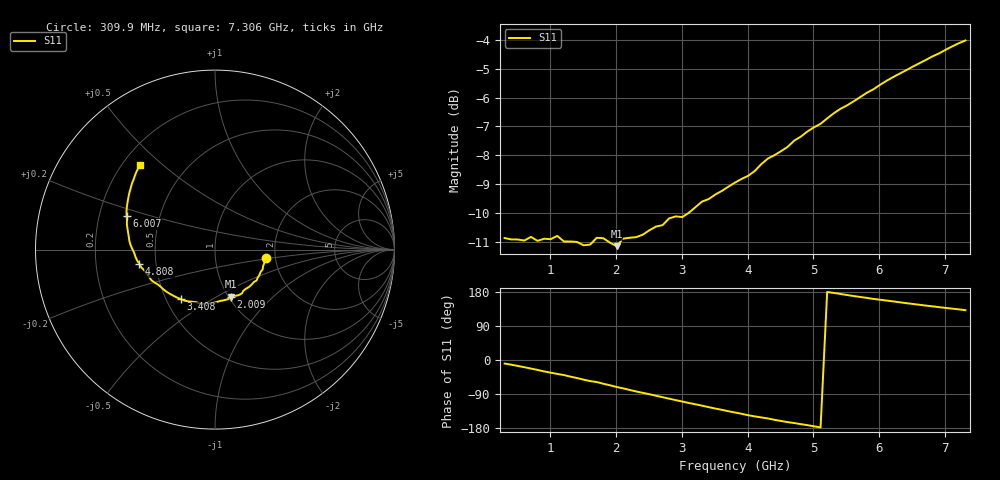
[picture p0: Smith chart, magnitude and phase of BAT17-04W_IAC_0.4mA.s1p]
! Infineon Technologies  Discrete & RF Semiconductors
! BAT17-04W
! IAC = 0.4 mA
! One-Port S-Parameters
# Hz  S  MA  R  50
!f  S11
!Hz  Mag  Ang
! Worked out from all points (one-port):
!   71 points, 309.9 MHz to 7.306 GHz, reference 50 ohm
!   lowest |S11| = -11.2 dB at 2.009 GHz (marker M1), VSWR 1.77, Z = 51.4 - j29.2 ohm
!   |S11| at or under -10 dB: start of sweep to 3.102 GHz
!   S11 on the Smith chart (normalised r, x): 309.9 MHz: 1.77, -0.18; 2.009 GHz: 1.03, -0.58; 3.408 GHz: 0.60, -0.37; 4.808 GHz: 0.40, -0.08; 6.007 GHz: 0.32, +0.17; 7.306 GHz: 0.27, +0.42
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3.0985e8  0.2862 -9.5
6.097e8  0.2833 -19.0
7.0965e8  0.2874 -22.6
8.096e8  0.2829 -26.2
1.10945e9  0.2886 -36.7
1.2094e9  0.2823 -39.7
1.6092e9  0.2787 -55.6
1.70915e9  0.2864 -58.2
1.8091e9  0.2859 -62.7
2.009e9  0.277 -71.1
2.10895e9  0.2855 -74.9
2.4088e9  0.29 -86.7
2.70865e9  0.3013 -98.2
2.8086e9  0.3095 -102.1
3.0085e9  0.3111 -109.7
3.30835e9  0.331 -120.5
3.4083e9  0.3343 -124.4
3.8081e9  0.357 -138.5
4.10795e9  0.3739 -148.9
4.30785e9  0.393 -154.2
4.70765e9  0.4222 -166.3
4.8076e9  0.4289 -169.3
5.30735e9  0.4708 177.0
5.6072e9  0.4936 168.8
6.007e9  0.5271 159.2
6.50675e9  0.5671 147.9
6.8066e9  0.5909 141.6
7.30635e9  0.6296 131.5
